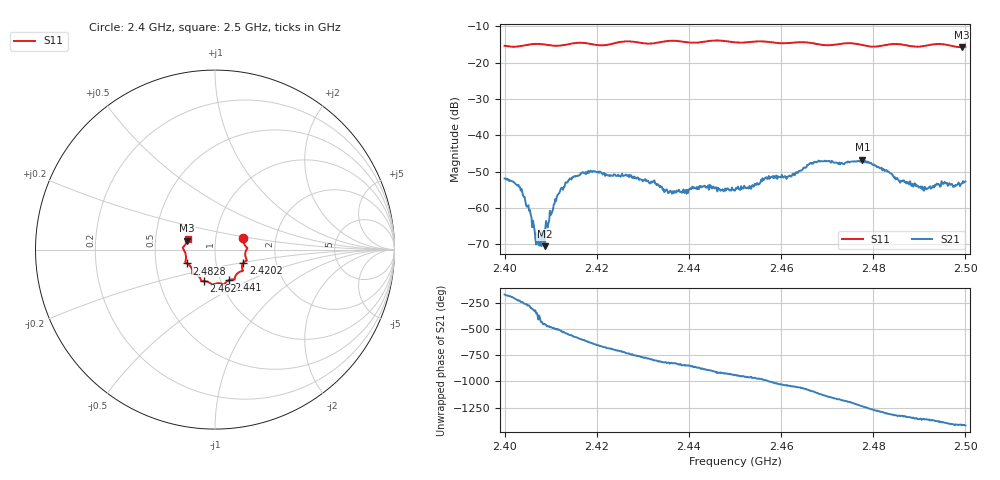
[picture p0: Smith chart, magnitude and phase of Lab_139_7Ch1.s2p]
# Hz S RI R
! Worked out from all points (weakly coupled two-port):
!   601 points, 2.4 GHz to 2.5 GHz, reference 50 ohm
!   highest |S21| = -46.71 dB at 2.4777 GHz (marker M1); lowest = -70.5 dB at 2.4087 GHz (marker M2)
!   lowest |S11| = -15.8 dB at 2.4992 GHz (marker M3), VSWR 1.39, Z = 36.4 + j3.72 ohm
!   |S11| at or under -10 dB: start of sweep to end of sweep
!   S12 and S22 are empty: the file has one direction only
!   S11 on the Smith chart (normalised r, x): 2.4 GHz: 1.36, +0.17; 2.4202 GHz: 1.36, -0.20; 2.441 GHz: 1.10, -0.39; 2.462 GHz: 0.84, -0.30; 2.4828 GHz: 0.72, -0.11; 2.5 GHz: 0.73, +0.09
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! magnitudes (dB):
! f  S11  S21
! 2.4 GHz  -15.4  -51.9
! 2.4035 GHz  -15.5  -55.2
! 2.4053 GHz  -15.0  -60.8
! 2.4072 GHz  -14.9  -67.1
! 2.4082 GHz  -14.9  -66.5
! 2.4087 GHz  -15.0  -70.5
! 2.412 GHz  -15.3  -55.5
! 2.4167 GHz  -14.6  -50.5
! 2.4202 GHz  -15.2  -50.3
! 2.4333 GHz  -14.5  -53.7
! 2.4358 GHz  -14.0  -55.4
! 2.441 GHz  -14.6  -54.6
! 2.45 GHz  -14.4  -55.3
! 2.462 GHz  -14.6  -51.2
! 2.4667 GHz  -14.6  -47.9
! 2.4777 GHz  -15.2  -46.7
! 2.4828 GHz  -15.1  -49.6
! 2.4833 GHz  -15.0  -50.0
! 2.4853 GHz  -14.9  -52.1
! 2.4913 GHz  -15.4  -54.5
! 2.4992 GHz  -15.8  -53.3
! 2.5 GHz  -15.7  -52.7
